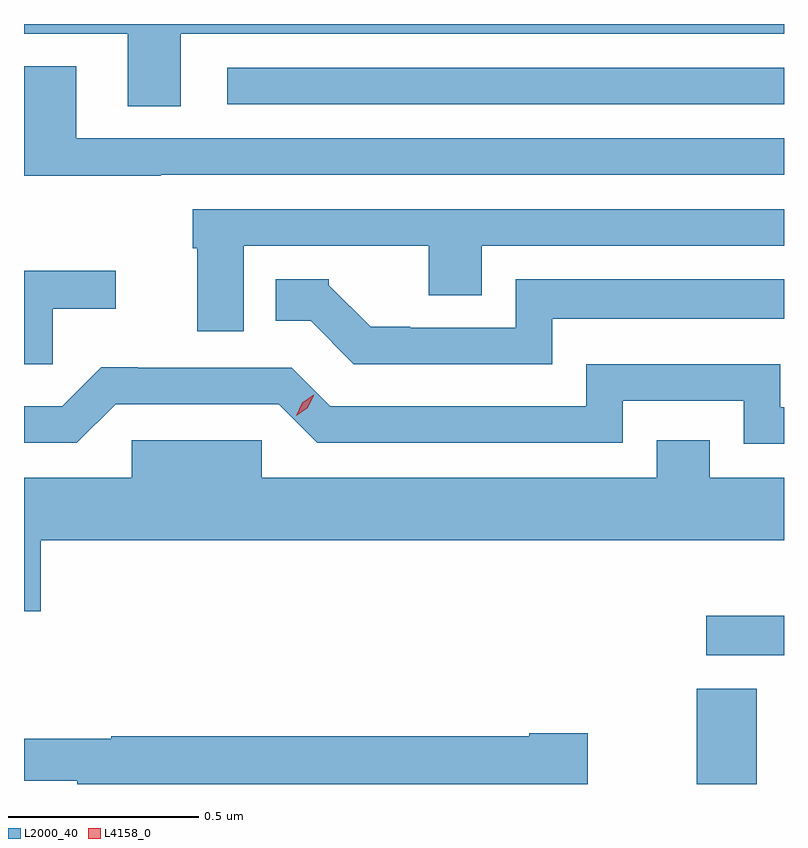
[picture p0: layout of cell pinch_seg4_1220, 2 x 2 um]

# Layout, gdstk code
import gdstk
lib = gdstk.Library(unit=1e-6, precision=1e-09)
def R(c, l, rs):  # rectangles x0, y0, x1, y1
    for r in rs: c.add(gdstk.rectangle(r[:2], r[2:], *l))
def P(c, l, *ps):  # polygons
    for p in ps: c.add(gdstk.Polygon(p, *l))
L2000_40 = (2000, 40)
L4158_0 = (4158, 0)

pinch_seg4_1220 = lib.new_cell('pinch_seg4_1220')
R(pinch_seg4_1220, L2000_40, [(598.466,762.878,598.624,763.129), (598.491,763.217,598.696,763.321), (597.231,764.667,598.696,764.763)])
P(pinch_seg4_1220, L2000_40, [(597.109,764.852),(598.696,764.852),(598.696,764.878),(596.696,764.878),(596.696,764.852),(596.969,764.852),(596.969,764.662),(597.109,764.662)],
  [(597.056,764.481),(598.696,764.481),(598.696,764.577),(596.833,764.577),(596.833,764.767),(596.696,764.767),(596.696,764.481),(596.697,764.481),(596.697,764.479),(597.056,764.479)],
  [(597.274,764.295),(597.761,764.295),(597.761,764.164),(597.901,764.164),(597.901,764.295),(598.696,764.295),(598.696,764.391),(597.14,764.391),(597.14,764.288),(597.152,764.288),(597.152,764.07),(597.274,764.07)],
  [(596.772,764.129),(596.938,764.129),(596.938,764.229),(596.696,764.229),(596.696,763.983),(596.772,763.983)],
  [(598.086,764.102),(598.696,764.102),(598.696,764.206),(597.99,764.206),(597.99,764.079),(597.712,764.079),(597.712,764.081),(597.608,764.081),(597.498,764.19),(597.498,764.206),(597.359,764.206),(597.359,764.097),(597.45,764.097),(597.564,763.983),(598.086,763.983)],
  [(598.696,763.869),(598.686,763.869),(598.686,763.983),(598.176,763.983),(598.176,763.872),(597.502,763.872),(597.4,763.974),(596.995,763.974),(596.995,763.975),(596.899,763.975),(596.796,763.872),(596.696,763.872),(596.696,763.776),(596.835,763.776),(596.937,763.878),(597.366,763.878),(597.468,763.776),(598.272,763.776),(598.272,763.887),(598.59,763.887),(598.59,763.773),(598.696,763.773)],
  [(596.74,763.52),(598.696,763.52),(598.696,763.684),(598.501,763.684),(598.501,763.783),(598.361,763.783),(598.361,763.684),(597.322,763.684),(597.322,763.783),(596.979,763.783),(596.979,763.684),(596.696,763.684),(596.696,763.332),(596.74,763.332)],
  [(598.18,763.012),(598.026,763.012),(598.026,763.004),(596.926,763.004),(596.926,762.997),(596.696,762.997),(596.696,762.887),(596.836,762.887),(596.836,762.878),(598.18,762.878)])
P(pinch_seg4_1220, L4158_0, [(597.413,763.847),(597.413,763.847),(597.428,763.881),(597.459,763.902),(597.459,763.902),(597.459,763.901),(597.443,763.868),(597.413,763.847)])

lib.write_gds('pinch_seg4_1220.gds')
